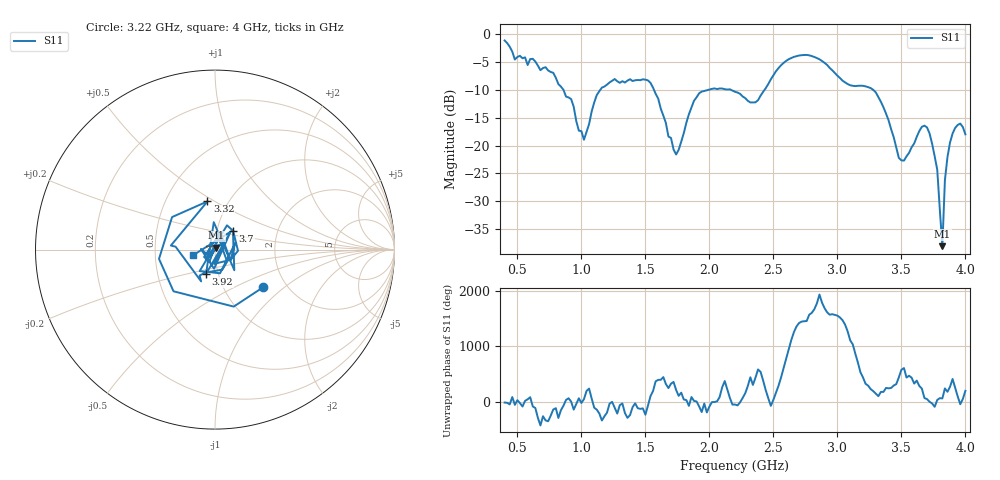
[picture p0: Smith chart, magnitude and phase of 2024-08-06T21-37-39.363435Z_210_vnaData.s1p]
!Created with skrf (http://scikit-rf.org).
# Hz S RI R 50.0
!freq ReS11 ImS11
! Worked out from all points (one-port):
!   181 points, 400 MHz to 4 GHz, reference 50 ohm
!   lowest |S11| = -38.1 dB at 3.82 GHz (marker M1), VSWR 1.03, Z = 50.7 + j1.07 ohm
!   |S11| at or under -10 dB: 859.7 MHz to 1.148 GHz (287.9 MHz wide, 28.7 % of centre); 1.567 GHz to 1.991 GHz (423.9 MHz wide, 23.8 % of centre); 3.28 GHz to end of sweep (the widest 3 of 4)
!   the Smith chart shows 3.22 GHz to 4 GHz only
!   S11 on the Smith chart (normalised r, x): 3.22 GHz: 1.52, -0.72; 3.32 GHz: 0.80, +0.46; 3.7 GHz: 1.20, +0.26; 3.92 GHz: 0.87, -0.24; 4 GHz: 0.78, -0.05
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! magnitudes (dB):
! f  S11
! 400 MHz  -1.1
! 480 MHz  -4.6
! 620 MHz  -4.4
! 860 MHz  -10.0
! 920 MHz  -11.7
! 1.02 GHz  -19.0
! 1.12 GHz  -10.9
! 1.3 GHz  -8.7
! 1.54 GHz  -8.8
! 1.72 GHz  -20.7
! 1.76 GHz  -20.8
! 1.92 GHz  -10.6
! 2.2 GHz  -10.4
! 2.36 GHz  -12.2
! 2.66 GHz  -4.1
! 2.86 GHz  -4.5
! 3.1 GHz  -9.2
! 3.22 GHz  -9.4
! 3.32 GHz  -11.3
! 3.48 GHz  -22.2
! 3.56 GHz  -21.3
! 3.7 GHz  -16.7
! 3.78 GHz  -24.3
! 3.82 GHz  -38.1
! 3.84 GHz  -26.2
! 3.88 GHz  -19.4
! 3.92 GHz  -16.8
! 4 GHz  -18.0
